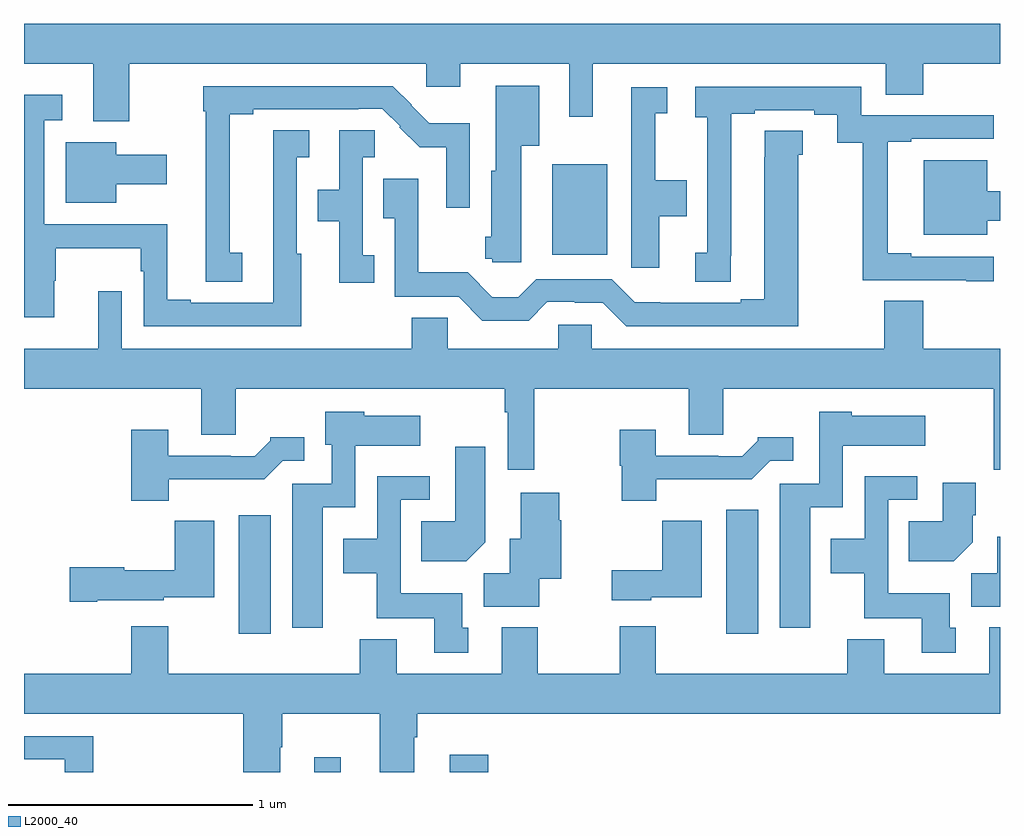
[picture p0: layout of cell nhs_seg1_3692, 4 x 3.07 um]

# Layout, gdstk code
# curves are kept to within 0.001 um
import gdstk
lib = gdstk.Library(unit=1e-6, precision=1e-09)
def R(c, l, rs):  # rectangles x0, y0, x1, y1
    for r in rs: c.add(gdstk.rectangle(r[:2], r[2:], *l))
def P(c, l, *ps):  # polygons
    for p in ps: c.add(gdstk.Polygon(p, *l))
L2000_40 = (2000, 40)

nhs_seg1_3692 = lib.new_cell('nhs_seg1_3692')
R(nhs_seg1_3692, L2000_40, [(314.189,510.199,314.299,510.262), (314.744,510.199,314.903,510.271), (313.88,510.768,314.011,511.252), (315.878,510.768,316.009,511.276), (315.164,512.321,315.391,512.692)])
P(nhs_seg1_3692, L2000_40, [(313.431,513.104),(314.649,513.104),(314.649,513.009),(314.788,513.009),(314.788,513.104),(315.234,513.104),(315.234,512.886),(315.331,512.886),(315.331,513.104),(316.532,513.104),(316.532,512.977),(316.685,512.977),(316.685,513.104),(317,513.104),(317,513.268),(313,513.268),(313,513.104),(313.283,513.104),(313.283,512.867),(313.431,512.867)],
  [(315.037,512.768),(315.112,512.768),(315.112,513.013),(314.934,513.013),(314.934,512.664),(314.915,512.664),(314.915,512.394),(314.891,512.394),(314.891,512.304),(314.919,512.304),(314.919,512.289),(315.037,512.289)],
  [(313.894,512.328),(313.844,512.328),(313.844,512.896),(313.939,512.896),(313.939,512.916),(314.369,512.916),(314.369,512.919),(314.469,512.919),(314.541,512.847),(314.538,512.844),(314.621,512.762),(314.73,512.762),(314.73,512.514),(314.826,512.514),(314.826,512.86),(314.661,512.86),(314.588,512.933),(314.59,512.935),(314.512,513.012),(313.734,513.012),(313.734,512.909),(313.745,512.909),(313.745,512.209),(313.894,512.209)],
  [(315.897,512.317),(315.898,512.317),(315.898,512.898),(315.994,512.898),(315.994,512.913),(316.238,512.913),(316.238,512.895),(316.334,512.895),(316.334,512.78),(316.438,512.78),(316.438,512.217),(316.862,512.217),(316.862,512.212),(316.975,512.212),(316.975,512.313),(316.636,512.313),(316.636,512.326),(316.54,512.326),(316.54,512.784),(316.636,512.784),(316.636,512.796),(316.975,512.796),(316.975,512.892),(316.431,512.892),(316.431,513.009),(315.75,513.009),(315.75,512.885),(315.801,512.885),(315.801,512.328),(315.75,512.328),(315.75,512.209),(315.897,512.209)],
  [(315.604,512.479),(315.716,512.479),(315.716,512.626),(315.587,512.626),(315.587,512.901),(315.637,512.901),(315.637,513.007),(315.488,513.007),(315.488,512.268),(315.604,512.268)],
  [(314.137,512.325),(314.118,512.325),(314.118,512.72),(314.17,512.72),(314.17,512.831),(314.021,512.831),(314.021,512.425),(314.022,512.425),(314.022,512.124),(313.684,512.124),(313.684,512.137),(313.588,512.137),(313.588,512.445),(313.083,512.445),(313.083,512.871),(313.156,512.871),(313.156,512.977),(313,512.977),(313,512.064),(313.123,512.064),(313.123,512.214),(313.131,512.214),(313.131,512.348),(313.479,512.348),(313.479,512.252),(313.491,512.252),(313.491,512.028),(314.137,512.028)],
  [(314.435,512.318),(314.388,512.318),(314.388,512.72),(314.437,512.72),(314.437,512.831),(314.292,512.831),(314.292,512.587),(314.203,512.587),(314.203,512.458),(314.291,512.458),(314.291,512.205),(314.435,512.205)],
  [(316.174,512.73),(316.192,512.73),(316.192,512.828),(316.035,512.828),(316.034,512.139),(315.938,512.139),(315.938,512.124),(315.503,512.125),(315.408,512.22),(315.099,512.22),(315.026,512.147),(314.92,512.147),(314.818,512.249),(314.616,512.249),(314.616,512.632),(314.473,512.632),(314.473,512.471),(314.52,512.471),(314.52,512.148),(314.781,512.148),(314.878,512.051),(315.068,512.051),(315.144,512.127),(315.257,512.127),(315.257,512.124),(315.372,512.124),(315.468,512.028),(316.174,512.028)],
  [(313.378,512.609),(313.585,512.609),(313.585,512.731),(313.378,512.731),(313.378,512.782),(313.172,512.782),(313.172,512.534),(313.378,512.534)],
  [(316.948,512.459),(317,512.459),(317,512.581),(316.948,512.581),(316.948,512.707),(316.688,512.707),(316.688,512.402),(316.948,512.402)],
  [(315.725,511.582),(315.865,511.582),(315.865,511.772),(316.975,511.772),(316.975,511.44),(317,511.44),(317,511.936),(316.685,511.936),(316.685,512.132),(316.525,512.132),(316.525,511.936),(315.327,511.936),(315.327,512.034),(315.189,512.034),(315.189,511.936),(314.736,511.936),(314.736,512.063),(314.59,512.063),(314.59,511.936),(313.401,511.936),(313.401,512.17),(313.304,512.17),(313.304,511.936),(313,511.936),(313,511.772),(313.727,511.772),(313.727,511.582),(313.867,511.582),(313.867,511.772),(314.97,511.772),(314.97,511.676),(314.982,511.676),(314.982,511.44),(315.091,511.44),(315.091,511.772),(315.725,511.772)],
  [(316.222,511.286),(316.356,511.286),(316.356,511.538),(316.693,511.538),(316.693,511.66),(316.392,511.66),(316.392,511.678),(316.26,511.678),(316.26,511.383),(316.097,511.383),(316.097,510.792),(316.222,510.792)],
  [(314.224,511.286),(314.358,511.286),(314.358,511.538),(314.623,511.538),(314.623,511.66),(314.394,511.66),(314.394,511.678),(314.234,511.678),(314.234,511.542),(314.262,511.542),(314.262,511.383),(314.099,511.383),(314.099,510.792),(314.224,510.792)],
  [(315.592,511.4),(315.983,511.4),(316.059,511.476),(316.153,511.476),(316.153,511.573),(316.008,511.573),(316.008,511.558),(315.944,511.494),(315.845,511.494),(315.845,511.497),(315.589,511.497),(315.589,511.603),(315.442,511.603),(315.442,511.455),(315.449,511.455),(315.449,511.313),(315.592,511.313)],
  [(313.594,511.4),(313.985,511.4),(314.061,511.476),(314.149,511.476),(314.149,511.573),(314.01,511.573),(314.01,511.558),(313.946,511.494),(313.847,511.494),(313.847,511.497),(313.591,511.497),(313.591,511.603),(313.439,511.603),(313.439,511.313),(313.594,511.313)],
  [(314.89,511.142),(314.89,511.534),(314.768,511.534),(314.768,511.228),(314.629,511.228),(314.629,511.064),(314.812,511.064)],
  [(314.821,510.792),(314.797,510.792),(314.797,510.934),(314.544,510.934),(314.544,511.317),(314.662,511.317),(314.662,511.413),(314.448,511.413),(314.448,511.156),(314.309,511.156),(314.309,511.016),(314.446,511.016),(314.446,510.83),(314.681,510.83),(314.681,510.69),(314.821,510.69)],
  [(316.819,510.792),(316.795,510.792),(316.795,510.934),(316.542,510.934),(316.542,511.317),(316.66,511.317),(316.66,511.413),(316.446,511.413),(316.446,511.156),(316.307,511.156),(316.307,511.016),(316.444,511.016),(316.444,510.83),(316.679,510.83),(316.679,510.69),(316.819,510.69)],
  [(316.888,511.142),(316.888,511.252),(316.901,511.252),(316.901,511.387),(316.766,511.387),(316.766,511.228),(316.627,511.228),(316.627,511.064),(316.81,511.064)],
  [(315.112,510.992),(315.201,510.992),(315.201,511.232),(315.193,511.232),(315.193,511.345),(315.035,511.345),(315.035,511.156),(314.99,511.156),(314.99,511.016),(314.885,511.016),(314.885,510.878),(315.112,510.878)],
  [(315.57,510.917),(315.778,510.917),(315.778,511.231),(315.616,511.231),(315.616,511.027),(315.408,511.027),(315.408,510.905),(315.57,510.905)],
  [(313.3,510.905),(313.572,510.905),(313.572,510.917),(313.78,510.917),(313.78,511.231),(313.618,511.231),(313.618,511.027),(313.41,511.027),(313.41,511.04),(313.188,511.04),(313.188,510.898),(313.3,510.898)],
  [(317,511.165),(316.988,511.165),(316.988,511.016),(316.883,511.016),(316.883,510.878),(317,510.878)],
  [(314.05,510.302),(314.058,510.302),(314.058,510.44),(314.459,510.44),(314.459,510.199),(314.599,510.199),(314.599,510.344),(314.612,510.344),(314.612,510.44),(317,510.44),(317,510.793),(316.955,510.793),(316.955,510.604),(316.525,510.604),(316.525,510.745),(316.373,510.745),(316.373,510.604),(315.589,510.604),(315.589,510.799),(315.442,510.799),(315.442,510.604),(315.105,510.604),(315.105,510.793),(314.957,510.793),(314.957,510.604),(314.527,510.604),(314.527,510.745),(314.375,510.745),(314.375,510.604),(313.591,510.604),(313.591,510.799),(313.439,510.799),(313.439,510.604),(313,510.604),(313,510.44),(313.898,510.44),(313.898,510.199),(314.05,510.199)],
  [(313.283,510.348),(313,510.348),(313,510.252),(313.167,510.252),(313.167,510.199),(313.283,510.199)])

lib.write_gds('nhs_seg1_3692.gds')
